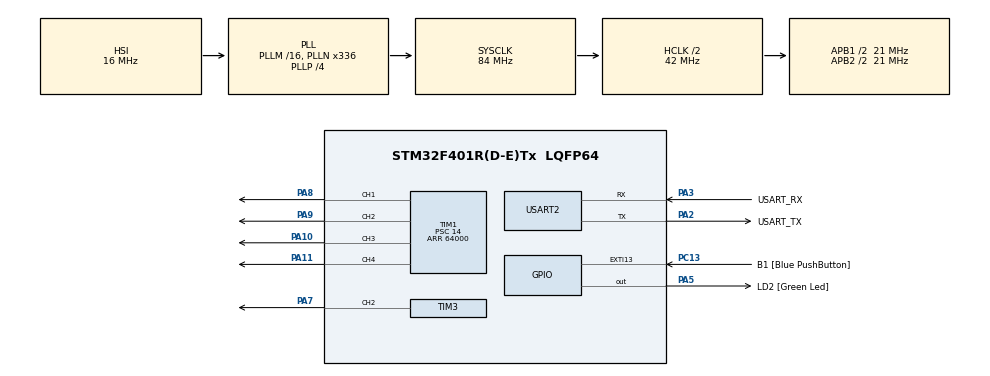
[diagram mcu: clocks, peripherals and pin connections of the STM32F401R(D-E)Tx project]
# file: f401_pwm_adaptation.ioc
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Mcu.Family=STM32F4
Mcu.Name=STM32F401R(D-E)Tx
Mcu.Package=LQFP64
NVIC.PriorityGroup=NVIC_PRIORITYGROUP_0
PA10.Signal=S_TIM1_CH3
PA11.Signal=S_TIM1_CH4
PA13.GPIO_Label=TMS
PA13.Mode=Serial_Wire
PA13.Signal=SYS_JTMS-SWDIO
PA14.GPIO_Label=TCK
PA14.Mode=Serial_Wire
PA14.Signal=SYS_JTCK-SWCLK
PA2.GPIO_Label=USART_TX
PA2.GPIO_Mode=GPIO_MODE_AF_PP
PA2.GPIO_PuPd=GPIO_NOPULL
PA2.GPIO_Speed=GPIO_SPEED_FREQ_LOW
PA2.Mode=Asynchronous
PA2.Signal=USART2_TX
PA3.GPIO_Label=USART_RX
PA3.GPIO_Mode=GPIO_MODE_AF_PP
PA3.GPIO_PuPd=GPIO_NOPULL
PA3.GPIO_Speed=GPIO_SPEED_FREQ_LOW
PA3.Mode=Asynchronous
PA3.Signal=USART2_RX
PA5.GPIO_Label=LD2 [Green Led]
PA5.GPIO_Mode=GPIO_MODE_OUTPUT_PP
PA5.GPIO_PuPd=GPIO_NOPULL
PA5.GPIO_Speed=GPIO_SPEED_FREQ_LOW
PA5.Signal=GPIO_Output
PA7.Signal=S_TIM3_CH2
PA8.Signal=S_TIM1_CH1
PA9.Signal=S_TIM1_CH2
PB3.GPIO_Label=SWO
PB3.Signal=SYS_JTDO-SWO
PC13-ANTI_TAMP.GPIO_Label=B1 [Blue PushButton]
PC13-ANTI_TAMP.GPIO_ModeDefaultEXTI=GPIO_MODE_IT_FALLING
PC13-ANTI_TAMP.GPIO_PuPd=GPIO_NOPULL
PC13-ANTI_TAMP.Signal=GPXTI13
PC14-OSC32_IN.Mode=LSE-External-Oscillator
PC14-OSC32_IN.Signal=RCC_OSC32_IN
PC15-OSC32_OUT.Mode=LSE-External-Oscillator
PC15-OSC32_OUT.Signal=RCC_OSC32_OUT
PH0\ -\ OSC_IN.Mode=HSE-External-Clock-Source
PH0\ -\ OSC_IN.Signal=RCC_OSC_IN
PH1\ -\ OSC_OUT.Mode=HSE-External-Clock-Source
PH1\ -\ OSC_OUT.Signal=RCC_OSC_OUT
ProjectManager.HeapSize=0x200
ProjectManager.StackSize=0x400
ProjectManager.TargetToolchain=STM32CubeIDE
RCC.48MHZClocksFreq_Value=48000000
RCC.AHBCLKDivider=RCC_SYSCLK_DIV2
RCC.AHBFreq_Value=42000000
RCC.APB1CLKDivider=RCC_HCLK_DIV2
RCC.APB1Freq_Value=21000000
RCC.APB1TimFreq_Value=42000000
RCC.APB2CLKDivider=RCC_HCLK_DIV2
RCC.APB2Freq_Value=21000000
RCC.APB2TimFreq_Value=42000000
RCC.CortexFreq_Value=42000000
RCC.HCLKFreq_Value=42000000
RCC.HSE_VALUE=8000000
RCC.HSI_VALUE=16000000
RCC.PLLN=336
RCC.PLLP=RCC_PLLP_DIV4
RCC.PLLQ=7
RCC.SYSCLKFreq_VALUE=84000000
RCC.SYSCLKSource=RCC_SYSCLKSOURCE_PLLCLK
RCC.VCOOutputFreq_Value=336000000
SH.S_TIM1_CH1.0=TIM1_CH1,PWM Generation1 CH1
SH.S_TIM1_CH2.0=TIM1_CH2,PWM Generation2 CH2
SH.S_TIM1_CH3.0=TIM1_CH3,PWM Generation3 CH3
SH.S_TIM1_CH4.0=TIM1_CH4,PWM Generation4 CH4
SH.S_TIM3_CH2.0=TIM3_CH2,PWM Generation2 CH2
TIM1.Channel-PWM\ Generation1\ CH1=TIM_CHANNEL_1
TIM1.Channel-PWM\ Generation2\ CH2=TIM_CHANNEL_2
TIM1.Channel-PWM\ Generation3\ CH3=TIM_CHANNEL_3
TIM1.Channel-PWM\ Generation4\ CH4=TIM_CHANNEL_4
TIM1.Period=64000
TIM1.Prescaler=14
TIM3.Channel-PWM\ Generation2\ CH2=TIM_CHANNEL_2
TIM3.Period=64000
TIM3.Prescaler=12
USART2.VirtualMode=VM_ASYNC
VP_TIM1_VS_ClockSourceINT.Mode=Internal
VP_TIM3_VS_ClockSourceINT.Mode=Internal
board=NUCLEO-F401RE

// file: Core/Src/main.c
/* USER CODE BEGIN Header */
/**
  ******************************************************************************
  * @file           : main.c
  * @brief          : Main program body
  ******************************************************************************
  * @attention
  *
  * Copyright (c) 2022 STMicroelectronics.
  * All rights reserved.
  *
  * This software is licensed under terms that can be found in the LICENSE file
  * in the root directory of this software component.
  * If no LICENSE file comes with this software, it is provided AS-IS.
  *
  ******************************************************************************
  */
/* USER CODE END Header */
#include "main.h"

TIM_HandleTypeDef htim1;
TIM_HandleTypeDef htim3;

UART_HandleTypeDef huart2;

void SystemClock_Config(void);
static void MX_GPIO_Init(void);
static void MX_USART2_UART_Init(void);
static void MX_TIM1_Init(void);
static void MX_TIM3_Init(void);

/* USER CODE BEGIN 0 */
const static uint16_t CounterPeriod = 64000;//same for both tim1 and tim3
const static uint16_t DutyCycle_min = 5;//the duty cycle for the pwm output is 5%
const static uint16_t DutyCycle_max = 10;//To the max value which is 10%

uint8_t calc_pwm_out (int percentage);
//This value calculate the value for the timer to compare with in order to determine pwm output
//percentage is a value from 0..100

uint8_t calc_pwm_out(int percentage){
			int pwm_output;
			double duty_cycle_counter;

		  	pwm_output = (percentage * (DutyCycle_max) + DutyCycle_min);//get the value in range from duty cycle max - min and get the amount of counter to compare

		  	duty_cycle_counter = (double)(pwm_output) / 100 * CounterPeriod;

		  	return (uint16_t)duty_cycle_counter;

}

/* USER CODE END 0 */

int main(void)
{

  /* MCU Configuration--------------------------------------------------------*/

  /* Reset of all peripherals, Initializes the Flash interface and the Systick. */
  HAL_Init();

  /* Configure the system clock */
  SystemClock_Config();

  /* Initialize all configured peripherals */
  MX_GPIO_Init();
  MX_USART2_UART_Init();
  MX_TIM1_Init();
  MX_TIM3_Init();
  /* USER CODE BEGIN 2 */
  //pwm timer start
    HAL_TIM_PWM_Start(&htim1, TIM_CHANNEL_1);
    HAL_TIM_PWM_Start(&htim1, TIM_CHANNEL_2);
    HAL_TIM_PWM_Start(&htim1, TIM_CHANNEL_3);
    HAL_TIM_PWM_Start(&htim1, TIM_CHANNEL_4);
    HAL_TIM_PWM_Start(&htim3, TIM_CHANNEL_2);

  /* USER CODE END 2 */

  /* Infinite loop */
  /* USER CODE BEGIN WHILE */
  while (1)
  {
	  uint16_t pwm_output;
	  pwm_output = calc_pwm_out(70);

	  __HAL_TIM_SET_COMPARE(&htim1, TIM_CHANNEL_1, &pwm_output);//(0.7*0.5+0.5)*64000
	  __HAL_TIM_SET_COMPARE(&htim1, TIM_CHANNEL_2, &pwm_output);
	  __HAL_TIM_SET_COMPARE(&htim1, TIM_CHANNEL_3, &pwm_output);
	  __HAL_TIM_SET_COMPARE(&htim1, TIM_CHANNEL_4, &pwm_output);
	  __HAL_TIM_SET_COMPARE(&htim3, TIM_CHANNEL_2, &pwm_output);

    /* USER CODE END WHILE */

    /* USER CODE BEGIN 3 */
	  HAL_GPIO_TogglePin(LD2_GPIO_Port, LD2_Pin);
	  HAL_Delay(10);
  }
  /* USER CODE END 3 */
}

void SystemClock_Config(void)
{
  RCC_OscInitTypeDef RCC_OscInitStruct = {0};
  RCC_ClkInitTypeDef RCC_ClkInitStruct = {0};

  /** Configure the main internal regulator output voltage
  */
  __HAL_RCC_PWR_CLK_ENABLE();
  __HAL_PWR_VOLTAGESCALING_CONFIG(PWR_REGULATOR_VOLTAGE_SCALE2);

  /** Initializes the RCC Oscillators according to the specified parameters
  * in the RCC_OscInitTypeDef structure.
  */
  RCC_OscInitStruct.OscillatorType = RCC_OSCILLATORTYPE_HSI;
  RCC_OscInitStruct.HSIState = RCC_HSI_ON;
  RCC_OscInitStruct.HSICalibrationValue = RCC_HSICALIBRATION_DEFAULT;
  RCC_OscInitStruct.PLL.PLLState = RCC_PLL_ON;
  RCC_OscInitStruct.PLL.PLLSource = RCC_PLLSOURCE_HSI;
  RCC_OscInitStruct.PLL.PLLM = 16;
  RCC_OscInitStruct.PLL.PLLN = 336;
  RCC_OscInitStruct.PLL.PLLP = RCC_PLLP_DIV4;
  RCC_OscInitStruct.PLL.PLLQ = 7;
  if (HAL_RCC_OscConfig(&RCC_OscInitStruct) != HAL_OK)
  {
    Error_Handler();
  }

  /** Initializes the CPU, AHB and APB buses clocks
  */
  RCC_ClkInitStruct.ClockType = RCC_CLOCKTYPE_HCLK|RCC_CLOCKTYPE_SYSCLK
                              |RCC_CLOCKTYPE_PCLK1|RCC_CLOCKTYPE_PCLK2;
  RCC_ClkInitStruct.SYSCLKSource = RCC_SYSCLKSOURCE_PLLCLK;
  RCC_ClkInitStruct.AHBCLKDivider = RCC_SYSCLK_DIV2;
  RCC_ClkInitStruct.APB1CLKDivider = RCC_HCLK_DIV2;
  RCC_ClkInitStruct.APB2CLKDivider = RCC_HCLK_DIV2;

  if (HAL_RCC_ClockConfig(&RCC_ClkInitStruct, FLASH_LATENCY_1) != HAL_OK)
  {
    Error_Handler();
  }
}

static void MX_TIM1_Init(void)
{

  TIM_ClockConfigTypeDef sClockSourceConfig = {0};
  TIM_MasterConfigTypeDef sMasterConfig = {0};
  TIM_OC_InitTypeDef sConfigOC = {0};
  TIM_BreakDeadTimeConfigTypeDef sBreakDeadTimeConfig = {0};

  htim1.Instance = TIM1;
  htim1.Init.Prescaler = 14;
  htim1.Init.CounterMode = TIM_COUNTERMODE_UP;
  htim1.Init.Period = 64000;
  htim1.Init.ClockDivision = TIM_CLOCKDIVISION_DIV1;
  htim1.Init.RepetitionCounter = 0;
  htim1.Init.AutoReloadPreload = TIM_AUTORELOAD_PRELOAD_DISABLE;
  if (HAL_TIM_Base_Init(&htim1) != HAL_OK)
  {
    Error_Handler();
  }
  sClockSourceConfig.ClockSource = TIM_CLOCKSOURCE_INTERNAL;
  if (HAL_TIM_ConfigClockSource(&htim1, &sClockSourceConfig) != HAL_OK)
  {
    Error_Handler();
  }
  if (HAL_TIM_PWM_Init(&htim1) != HAL_OK)
  {
    Error_Handler();
  }
  sMasterConfig.MasterOutputTrigger = TIM_TRGO_RESET;
  sMasterConfig.MasterSlaveMode = TIM_MASTERSLAVEMODE_DISABLE;
  if (HAL_TIMEx_MasterConfigSynchronization(&htim1, &sMasterConfig) != HAL_OK)
  {
    Error_Handler();
  }
  sConfigOC.OCMode = TIM_OCMODE_PWM1;
  sConfigOC.Pulse = 0;
  sConfigOC.OCPolarity = TIM_OCPOLARITY_HIGH;
  sConfigOC.OCNPolarity = TIM_OCNPOLARITY_HIGH;
  sConfigOC.OCFastMode = TIM_OCFAST_DISABLE;
  sConfigOC.OCIdleState = TIM_OCIDLESTATE_RESET;
  sConfigOC.OCNIdleState = TIM_OCNIDLESTATE_RESET;
  if (HAL_TIM_PWM_ConfigChannel(&htim1, &sConfigOC, TIM_CHANNEL_1) != HAL_OK)
  {
    Error_Handler();
  }
  if (HAL_TIM_PWM_ConfigChannel(&htim1, &sConfigOC, TIM_CHANNEL_2) != HAL_OK)
  {
    Error_Handler();
  }
  if (HAL_TIM_PWM_ConfigChannel(&htim1, &sConfigOC, TIM_CHANNEL_3) != HAL_OK)
  {
    Error_Handler();
  }
  if (HAL_TIM_PWM_ConfigChannel(&htim1, &sConfigOC, TIM_CHANNEL_4) != HAL_OK)
  {
    Error_Handler();
  }
  sBreakDeadTimeConfig.OffStateRunMode = TIM_OSSR_DISABLE;
  sBreakDeadTimeConfig.OffStateIDLEMode = TIM_OSSI_DISABLE;
  sBreakDeadTimeConfig.LockLevel = TIM_LOCKLEVEL_OFF;
  sBreakDeadTimeConfig.DeadTime = 0;
  sBreakDeadTimeConfig.BreakState = TIM_BREAK_DISABLE;
  sBreakDeadTimeConfig.BreakPolarity = TIM_BREAKPOLARITY_HIGH;
  sBreakDeadTimeConfig.AutomaticOutput = TIM_AUTOMATICOUTPUT_DISABLE;
  if (HAL_TIMEx_ConfigBreakDeadTime(&htim1, &sBreakDeadTimeConfig) != HAL_OK)
  {
    Error_Handler();
  }
  HAL_TIM_MspPostInit(&htim1);

}

static void MX_TIM3_Init(void)
{

  TIM_ClockConfigTypeDef sClockSourceConfig = {0};
  TIM_MasterConfigTypeDef sMasterConfig = {0};
  TIM_OC_InitTypeDef sConfigOC = {0};

  htim3.Instance = TIM3;
  htim3.Init.Prescaler = 12;
  htim3.Init.CounterMode = TIM_COUNTERMODE_UP;
  htim3.Init.Period = 64000;
  htim3.Init.ClockDivision = TIM_CLOCKDIVISION_DIV1;
  htim3.Init.AutoReloadPreload = TIM_AUTORELOAD_PRELOAD_DISABLE;
  if (HAL_TIM_Base_Init(&htim3) != HAL_OK)
  {
    Error_Handler();
  }
  sClockSourceConfig.ClockSource = TIM_CLOCKSOURCE_INTERNAL;
  if (HAL_TIM_ConfigClockSource(&htim3, &sClockSourceConfig) != HAL_OK)
  {
    Error_Handler();
  }
  if (HAL_TIM_PWM_Init(&htim3) != HAL_OK)
  {
    Error_Handler();
  }
  sMasterConfig.MasterOutputTrigger = TIM_TRGO_RESET;
  sMasterConfig.MasterSlaveMode = TIM_MASTERSLAVEMODE_DISABLE;
  if (HAL_TIMEx_MasterConfigSynchronization(&htim3, &sMasterConfig) != HAL_OK)
  {
    Error_Handler();
  }
  sConfigOC.OCMode = TIM_OCMODE_PWM1;
  sConfigOC.Pulse = 0;
  sConfigOC.OCPolarity = TIM_OCPOLARITY_HIGH;
  sConfigOC.OCFastMode = TIM_OCFAST_DISABLE;
  if (HAL_TIM_PWM_ConfigChannel(&htim3, &sConfigOC, TIM_CHANNEL_2) != HAL_OK)
  {
    Error_Handler();
  }
  HAL_TIM_MspPostInit(&htim3);

}

static void MX_USART2_UART_Init(void)
{

  huart2.Instance = USART2;
  huart2.Init.BaudRate = 115200;
  huart2.Init.WordLength = UART_WORDLENGTH_8B;
  huart2.Init.StopBits = UART_STOPBITS_1;
  huart2.Init.Parity = UART_PARITY_NONE;
  huart2.Init.Mode = UART_MODE_TX_RX;
  huart2.Init.HwFlowCtl = UART_HWCONTROL_NONE;
  huart2.Init.OverSampling = UART_OVERSAMPLING_16;
  if (HAL_UART_Init(&huart2) != HAL_OK)
  {
    Error_Handler();
  }

}

static void MX_GPIO_Init(void)
{
  GPIO_InitTypeDef GPIO_InitStruct = {0};

  /* GPIO Ports Clock Enable */
  __HAL_RCC_GPIOC_CLK_ENABLE();
  __HAL_RCC_GPIOH_CLK_ENABLE();
  __HAL_RCC_GPIOA_CLK_ENABLE();
  __HAL_RCC_GPIOB_CLK_ENABLE();

  /*Configure GPIO pin Output Level */
  HAL_GPIO_WritePin(LD2_GPIO_Port, LD2_Pin, GPIO_PIN_RESET);

  /*Configure GPIO pin : B1_Pin */
  GPIO_InitStruct.Pin = B1_Pin;
  GPIO_InitStruct.Mode = GPIO_MODE_IT_FALLING;
  GPIO_InitStruct.Pull = GPIO_NOPULL;
  HAL_GPIO_Init(B1_GPIO_Port, &GPIO_InitStruct);

  /*Configure GPIO pin : LD2_Pin */
  GPIO_InitStruct.Pin = LD2_Pin;
  GPIO_InitStruct.Mode = GPIO_MODE_OUTPUT_PP;
  GPIO_InitStruct.Pull = GPIO_NOPULL;
  GPIO_InitStruct.Speed = GPIO_SPEED_FREQ_LOW;
  HAL_GPIO_Init(LD2_GPIO_Port, &GPIO_InitStruct);

}

void Error_Handler(void)
{
  __disable_irq();
  while (1)
  {
  }
}
